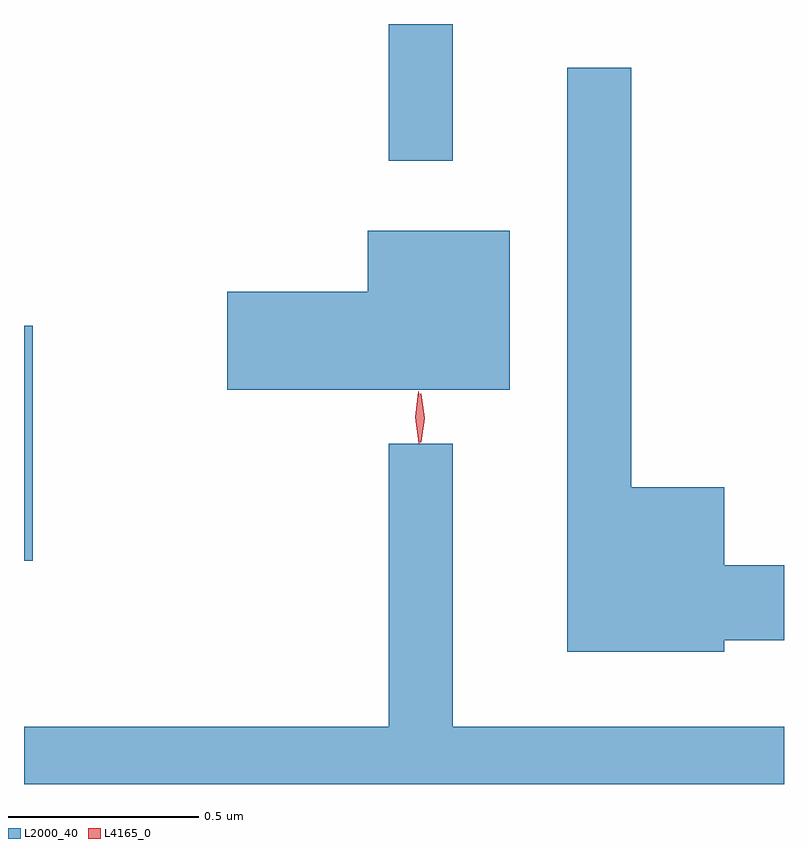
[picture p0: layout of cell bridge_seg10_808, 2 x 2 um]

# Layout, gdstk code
import gdstk
lib = gdstk.Library(unit=1e-6, precision=1e-09)
def R(c, l, rs):  # rectangles x0, y0, x1, y1
    for r in rs: c.add(gdstk.rectangle(r[:2], r[2:], *l))
def P(c, l, *ps):  # polygons
    for p in ps: c.add(gdstk.Polygon(p, *l))
L2000_40 = (2000, 40)
L4165_0 = (4165, 0)

bridge_seg10_808 = lib.new_cell('bridge_seg10_808')
R(bridge_seg10_808, L2000_40, [(525.561,2167.901,525.584,2168.519), (526.521,2168.953,526.689,2169.313)])
P(bridge_seg10_808, L2000_40, [(527.404,2167.691),(527.561,2167.691),(527.561,2167.889),(527.404,2167.889),(527.404,2168.094),(527.159,2168.094),(527.159,2169.198),(526.991,2169.198),(526.991,2167.661),(527.404,2167.661)],
  [(526.839,2168.769),(526.466,2168.769),(526.466,2168.609),(526.096,2168.609),(526.096,2168.351),(526.839,2168.351)],
  [(527.561,2167.464),(526.689,2167.464),(526.689,2168.208),(526.521,2168.208),(526.521,2167.464),(525.561,2167.464),(525.561,2167.313),(527.561,2167.313)])
P(bridge_seg10_808, L4165_0, [(526.6,2168.21),(526.6,2168.21),(526.59,2168.278),(526.599,2168.345),(526.6,2168.346),(526.6,2168.345),(526.61,2168.278),(526.601,2168.21)],
  [(526.604,2168.213),(526.595,2168.276),(526.604,2168.34),(526.605,2168.34),(526.606,2168.34),(526.615,2168.276),(526.606,2168.213),(526.605,2168.213)])

lib.write_gds('bridge_seg10_808.gds')
